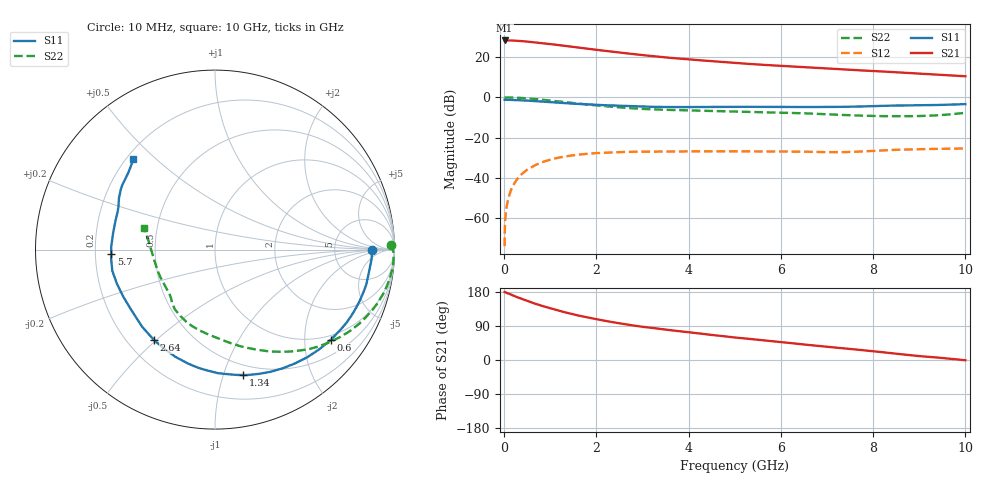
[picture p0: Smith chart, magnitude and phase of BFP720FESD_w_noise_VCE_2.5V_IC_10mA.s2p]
! Infineon Technologies  Discrete & RF Semiconductors
! BFP720FESD
! VCE =  2.5 V,  IC =  10 mA
! Common Emitter S-Parameters:  Jan 2016
# GHz  S  MA  R  50
!  f  S11  S21  S12  S22
! GHz  MAG  ANG  MAG  ANG  MAG  ANG  MAG  ANG
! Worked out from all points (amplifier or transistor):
!   233 points, 10 MHz to 10 GHz, reference 50 ohm
!   highest |S21| = 28.3 dB at 10 MHz (marker M1)
!   |S21| within 3 dB of that: start of sweep to 1.426 GHz
!   unconditionally stable (mu >= 1): start of sweep to 10.8 MHz; 6.434 GHz to end of sweep
!   at 200 MHz: K = 0.03, MSG = 35.9 dB, |S12| = -43.6 dB
!   at 1.74 GHz: K = 0.29, MSG = 26.3 dB, |S12| = -28.2 dB
!   at 10 GHz: K = 1.30, MAG = 14.7 dB, |S12| = -25.4 dB
!   lowest NFmin = 0.67 dB at 450 MHz
!   S11 on the Smith chart (normalised r, x): 10 MHz: 15, -1; 600 MHz: 0.87, -2.65; 1.34 GHz: 0.41, -1.17; 2.64 GHz: 0.31, -0.49; 5.7 GHz: 0.27, -0.02; 10 GHz: 0.23, +0.43
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0.01  0.8756 -0.3  25.96 179.5  0.0002 58.7  0.9801 1.6
0.02  0.8743 -1.2  25.92 178.8  0.0008 101.5  0.9935 -0.5
0.06  0.8729 -4.0  25.86 176.8  0.0021 87.8  0.9964 -2.2
0.155  0.8656 -10.3  25.91 172.3  0.0052 84.7  0.9932 -6.4
0.3  0.8551 -19.6  25.42 165.0  0.0098 78.8  0.9777 -12.4
0.46  0.8368 -29.5  24.56 157.6  0.0147 73.4  0.9518 -18.6
0.6  0.8179 -38.0  23.71 151.5  0.0187 68.7  0.9241 -23.7
0.76  0.7945 -47.2  22.65 145.2  0.0228 63.6  0.8894 -29.3
0.98  0.7635 -59.2  21.23 137.1  0.0279 57.3  0.8393 -36.4
1.2  0.7344 -70.5  19.82 129.6  0.032 51.5  0.7883 -43.3
1.34  0.7163 -77.2  18.92 125.2  0.0342 48.1  0.7562 -47.3
1.68  0.6792 -91.9  16.91 115.5  0.0384 40.9  0.6857 -56.1
2.2  0.6366 -110.4  14.27 103.1  0.0423 32.5  0.6018 -67.8
2.64  0.6074 -124.0  12.48 94.1  0.0441 27.0  0.5483 -76.7
3  0.591 -133.4  11.23 87.6  0.0446 23.4  0.516 -83.0
3.4  0.5772 -141.5  10.09 81.7  0.0448 21.4  0.4949 -87.9
4.4  0.577 -159.3  8.101 67.6  0.0456 17.3  0.4614 -99.3
5.1  0.5829 -169.7  7.045 58.3  0.0456 15.2  0.4427 -107.4
5.7  0.5788 -177.7  6.351 51.0  0.0453 14.1  0.4264 -113.8
6.8  0.5755 166.3  5.366 37.3  0.0439 14.3  0.3893 -126.6
8.4  0.623 147.4  4.272 17.9  0.0492 20.3  0.3409 -153.3
10  0.6794 132.0  3.342 -0.7  0.0535 17.3  0.412 162.7
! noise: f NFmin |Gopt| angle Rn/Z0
0.45  0.67  0.34  3  0.12
2.4  0.75  0.2  29  0.13
5.5  0.89  0.27  115  0.09
10  1.35  0.26  -149  0.11
